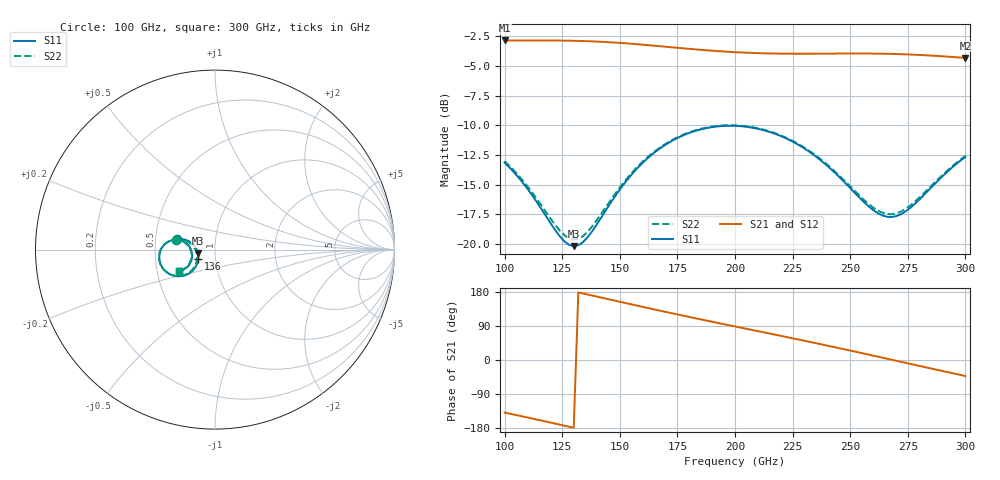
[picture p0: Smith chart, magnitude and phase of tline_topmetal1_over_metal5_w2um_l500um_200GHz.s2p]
#  GHZ S DB R 50
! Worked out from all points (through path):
!   101 points, 100 GHz to 300 GHz, reference 50 ohm
!   highest |S21| = -2.85 dB at 100 GHz (marker M1); lowest = -4.3 dB at 300 GHz (marker M2)
!   group delay of S21, straight-line fit = 3.63 ps
!   lowest |S11| = -20.2 dB at 130 GHz (marker M3), VSWR 1.22, Z = 41.2 - j1.65 ohm
!   |S11| at or under -10 dB: start of sweep to end of sweep
!   |S22| runs from -19.6 to -10.0 dB; largest |S21 - S12| = 8.3e-14
!   S11 on the Smith chart (normalised r, x): 100 GHz: 0.65, +0.08; 136 GHz: 0.82, -0.08; 300 GHz: 0.65, -0.17
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100  -13.15 164.9  -2.85 -138.8  -2.85 -138.8  -13.03 166.2
108  -14.87 161.8  -2.86 -149.2  -2.86 -149.2  -14.68 163.4
116  -17.07 163.7  -2.85 -159.8  -2.85 -159.8  -16.77 165.4
124  -19.37 175.2  -2.86 -170.6  -2.86 -170.6  -18.89 176.4
130  -20.19 -168.3  -2.88 -178.8  -2.88 -178.8  -19.63 -168.5
134  -19.86 -156.6  -2.90 175.7  -2.90 175.7  -19.35 -157.6
136  -19.45 -151.5  -2.92 172.9  -2.92 172.9  -18.99 -152.9
150  -15.42 -136.8  -3.06 153.7  -3.06 153.7  -15.24 -138.3
158  -13.54 -138.4  -3.18 142.8  -3.18 142.8  -13.43 -139.7
168  -11.87 -144.3  -3.35 129.4  -3.35 129.4  -11.80 -145.2
176  -10.98 -150.3  -3.49 119.0  -3.49 119.0  -10.93 -151.0
184  -10.41 -156.8  -3.63 108.7  -3.63 108.7  -10.36 -157.4
200  -10.05 -170.1  -3.84 88.5  -3.84 88.5  -10.01 -170.4
216  -10.63 177.5  -3.95 68.6  -3.95 68.6  -10.58 177.5
234  -12.47 166.9  -3.97 45.8  -3.97 45.8  -12.40 167.2
244  -14.12 164.9  -3.96 32.8  -3.96 32.8  -14.01 165.3
252  -15.70 167.5  -3.95 22.2  -3.95 22.2  -15.54 167.9
262  -17.41 179.0  -3.97 8.8  -3.97 8.8  -17.19 179.2
268  -17.73 -170.2  -3.99 0.7  -3.99 0.7  -17.50 -170.4
274  -17.27 -159.7  -4.02 -7.4  -4.02 -7.4  -17.06 -160.3
284  -15.48 -149.3  -4.12 -20.9  -4.12 -20.9  -15.34 -150.1
300  -12.67 -149.0  -4.33 -42.3  -4.33 -42.3  -12.59 -149.6
